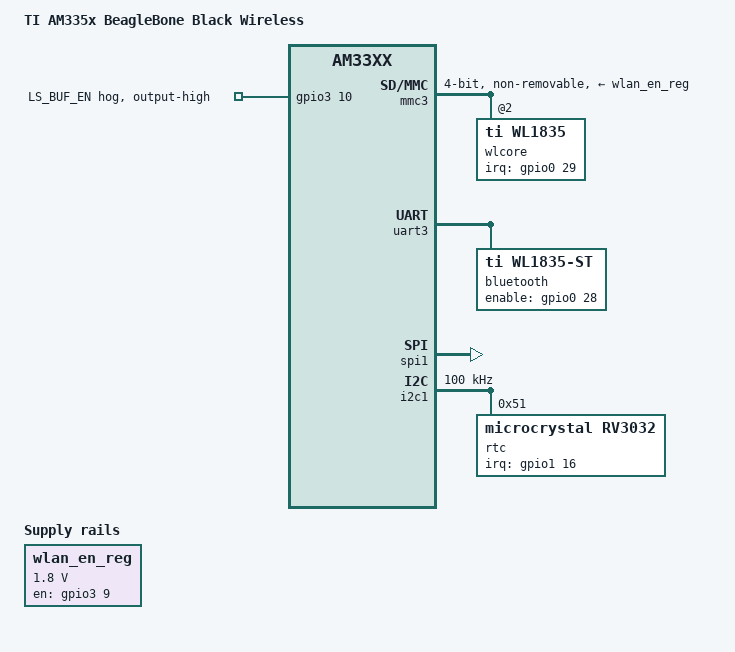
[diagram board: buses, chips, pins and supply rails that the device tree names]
// SPDX-License-Identifier: GPL-2.0-only
/*
 * Copyright (C) 2012 Texas Instruments Incorporated - https://www.ti.com/
 */
/dts-v1/;

#include "am33xx.dtsi"
#include "am335x-bone-common.dtsi"
#include "am335x-boneblack-common.dtsi"
#include "am335x-boneblack-hdmi.dtsi"
#include <dt-bindings/interrupt-controller/irq.h>

/ {
	model = "TI AM335x BeagleBone Black Wireless";
	compatible = "ti,am335x-bone-black-wireless", "ti,am335x-bone-black", "ti,am335x-bone", "ti,am33xx";

	wlan_en_reg: fixedregulator@2 {
		compatible = "regulator-fixed";
		regulator-name = "wlan-en-regulator";
		regulator-min-microvolt = <1800000>;
		regulator-max-microvolt = <1800000>;
		startup-delay-us = <70000>;

		/* WL_EN */
		gpio = <&gpio3 9 0>;
		enable-active-high;
	};
};

&am33xx_pinmux {
	bt_pins: bt-pins {
		pinctrl-single,pins = <
			AM33XX_PADCONF(AM335X_PIN_MII1_TXD0, PIN_OUTPUT_PULLUP, MUX_MODE7)	/* gmii1_txd0.gpio0_28 - BT_EN */
		>;
	};

	mmc3_pins: mmc3-pins {
		pinctrl-single,pins = <
			AM33XX_PADCONF(AM335X_PIN_MII1_RXD1, PIN_INPUT_PULLUP, MUX_MODE6 ) /* (L15) gmii1_rxd1.mmc2_clk */
			AM33XX_PADCONF(AM335X_PIN_MII1_TX_EN, PIN_INPUT_PULLUP, MUX_MODE6 ) /* (J16) gmii1_txen.mmc2_cmd */
			AM33XX_PADCONF(AM335X_PIN_MII1_RX_DV, PIN_INPUT_PULLUP, MUX_MODE5 ) /* (J17) gmii1_rxdv.mmc2_dat0 */
			AM33XX_PADCONF(AM335X_PIN_MII1_TXD3, PIN_INPUT_PULLUP, MUX_MODE5 ) /* (J18) gmii1_txd3.mmc2_dat1 */
			AM33XX_PADCONF(AM335X_PIN_MII1_TXD2, PIN_INPUT_PULLUP, MUX_MODE5 ) /* (K15) gmii1_txd2.mmc2_dat2 */
			AM33XX_PADCONF(AM335X_PIN_MII1_COL, PIN_INPUT_PULLUP, MUX_MODE5 ) /* (H16) gmii1_col.mmc2_dat3 */
		>;
	};

	uart3_pins: uart3-pins {
		pinctrl-single,pins = <
			AM33XX_PADCONF(AM335X_PIN_MII1_RXD3, PIN_INPUT_PULLUP, MUX_MODE1)	/* gmii1_rxd3.uart3_rxd */
			AM33XX_PADCONF(AM335X_PIN_MII1_RXD2, PIN_OUTPUT_PULLDOWN, MUX_MODE1)	/* gmii1_rxd2.uart3_txd */
			AM33XX_PADCONF(AM335X_PIN_MDIO, PIN_INPUT, MUX_MODE3)		/* mdio_data.uart3_ctsn */
			AM33XX_PADCONF(AM335X_PIN_MDC, PIN_OUTPUT_PULLDOWN, MUX_MODE3)	/* mdio_clk.uart3_rtsn */
		>;
	};

	wl18xx_pins: wl18xx-pins {
		pinctrl-single,pins = <
			AM33XX_PADCONF(AM335X_PIN_MII1_TX_CLK, PIN_OUTPUT_PULLDOWN, MUX_MODE7)	/* gmii1_txclk.gpio3_9 WL_EN */
			AM33XX_PADCONF(AM335X_PIN_RMII1_REF_CLK, PIN_INPUT_PULLDOWN, MUX_MODE7)	/* rmii1_refclk.gpio0_29 WL_IRQ */
			AM33XX_PADCONF(AM335X_PIN_MII1_RX_CLK, PIN_OUTPUT_PULLUP, MUX_MODE7)	/* gmii1_rxclk.gpio3_10 LS_BUF_EN */
		>;
	};

	rtc_nint_pins: pinmux_rtc_nint_pins {
		pinctrl-single,pins = <AM33XX_PADCONF(AM335X_PIN_GPMC_A0, PIN_INPUT, MUX_MODE7) >;
	};

	spi1_pins_s0: spi1_pins_s0 {
		pinctrl-single,pins = <
			0x190 0x33 /* mcasp0_aclkx.spi1_sclk, INPUT_PULLUP | MODE3 */
			0x194 0x33 /* mcasp0_fsx.spi1_d0, INPUT_PULLUP | MODE3 */
			0x198 0x13 /* mcasp0_axr0.spi1_d1, OUTPUT_PULLUP | MODE3 */
			0x19c 0x13 /* mcasp0_ahclkr.spi1_cs0, OUTPUT_PULLUP | MODE3 */
		>;
	};

	/* Pins 17 (I2C1_SCL) and 18 (I2C1_SDA) of connector P9 */
	i2c1_pins: pinmux_i2c1_pins {
		pinctrl-single,pins = <
			AM33XX_PADCONF(AM335X_PIN_SPI0_D1, PIN_INPUT_PULLUP, MUX_MODE2) /* spi0_d1.i2c1_sda */
			AM33XX_PADCONF(AM335X_PIN_SPI0_CS0, PIN_INPUT_PULLUP, MUX_MODE2) /* spi0_cs0.i2c1_scl */
		>;
	};
};

&mac_sw {
	status = "disabled";
};

&mmc3 {
	dmas = <&edma_xbar 12 0 1
		&edma_xbar 13 0 2>;
	dma-names = "tx", "rx";
	status = "okay";
	vmmc-supply = <&wlan_en_reg>;
	bus-width = <4>;
	non-removable;
	cap-power-off-card;
	keep-power-in-suspend;
	pinctrl-names = "default";
	pinctrl-0 = <&mmc3_pins &wl18xx_pins>;

	#address-cells = <1>;
	#size-cells = <0>;
	wlcore: wlcore@2 {
		compatible = "ti,wl1835";
		reg = <2>;
		interrupt-parent = <&gpio0>;
		interrupts = <29 IRQ_TYPE_EDGE_RISING>;
	};
};

&uart3 {
	pinctrl-names = "default";
	pinctrl-0 = <&uart3_pins &bt_pins>;
	status = "okay";

	bluetooth {
		compatible = "ti,wl1835-st";
		enable-gpios = <&gpio0 28 GPIO_ACTIVE_HIGH>;
	};
};

&gpio3 {
	ls-buf-en-hog {
		gpio-hog;
		gpios = <10 GPIO_ACTIVE_HIGH>;
		output-high;
		line-name = "LS_BUF_EN";
	};
};

&spi1 {
	status = "okay";
	pinctrl-names = "default";
	pinctrl-0 = <&spi1_pins_s0>;

	rtc@0 {
		compatible = "nxp,rtc-pcf2123";
		reg = <0>;
		spi-max-frequency = <1000000>;
		spi-cs-high;
		interrupts-extended = <&gpio1 16 GPIO_ACTIVE_LOW>;
		status = "disabled";
	};
};

&i2c1 {
	status = "okay";
	clock-frequency = <100000>;
	pinctrl-names = "default";
	pinctrl-0 = <&i2c1_pins>;

	rtc@51 {
		compatible = "microcrystal,rv3032";
		reg = <0x51>;
		status = "okay";
		pinctrl-0 = <&rtc_nint_pins>;
		interrupts-extended = <&gpio1 16 IRQ_TYPE_LEVEL_HIGH>;
	};

#if 0
	rtc@52 {
		compatible = "microcrystal,rv3028";
		reg = <0x52>;
		status = "okay";
		pinctrl-0 = <&rtc_nint_pins>;
		interrupts-extended = <&gpio1 16 IRQ_TYPE_LEVEL_HIGH>;
	};

	rtc@51 {
		compatible = "nxp,pcf2127";
		reg = <0x51>;
		status = "disabled";
		pinctrl-0 = <&rtc_nint_pins>;
		interrupts-extended = <&gpio1 16 IRQ_TYPE_LEVEL_HIGH>;
	};
#endif
};
